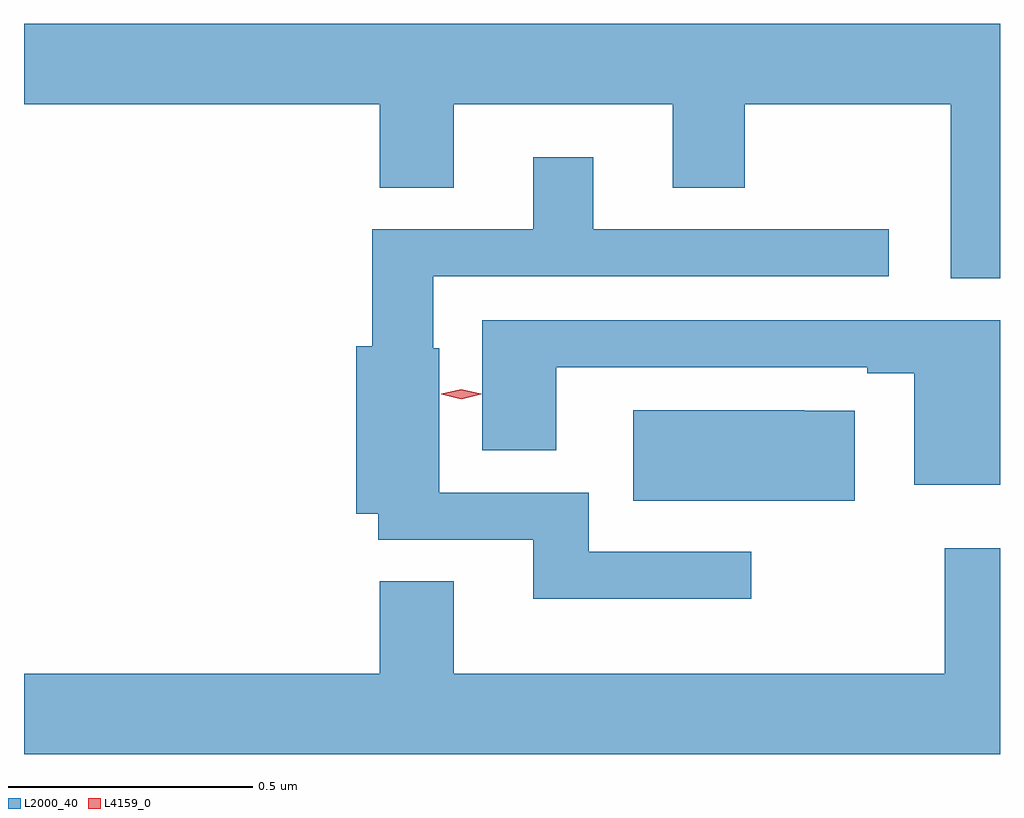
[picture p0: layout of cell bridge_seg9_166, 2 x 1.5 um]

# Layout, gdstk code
import gdstk
lib = gdstk.Library(unit=1e-6, precision=1e-09)
def P(c, l, *ps):  # polygons
    for p in ps: c.add(gdstk.Polygon(p, *l))
L2000_40 = (2000, 40)
L4159_0 = (4159, 0)

bridge_seg9_166 = lib.new_cell('bridge_seg9_166')
P(bridge_seg9_166, L2000_40, [(269.77,1233.88),(267.77,1233.88),(267.77,1233.716),(268.499,1233.716),(268.499,1233.544),(268.651,1233.544),(268.651,1233.716),(269.099,1233.716),(269.099,1233.544),(269.247,1233.544),(269.247,1233.716),(269.669,1233.716),(269.669,1233.359),(269.77,1233.359)],
  [(269.26,1232.799),(268.927,1232.799),(268.927,1232.919),(268.621,1232.919),(268.621,1233.216),(268.609,1233.216),(268.609,1233.363),(269.542,1233.363),(269.542,1233.459),(268.936,1233.459),(268.936,1233.607),(268.814,1233.607),(268.814,1233.459),(268.484,1233.459),(268.484,1233.22),(268.451,1233.22),(268.451,1232.876),(268.496,1232.876),(268.496,1232.823),(268.814,1232.823),(268.814,1232.702),(269.26,1232.702)],
  [(269.77,1233.273),(268.709,1233.273),(268.709,1233.006),(268.861,1233.006),(268.861,1233.177),(269.498,1233.177),(269.498,1233.164),(269.594,1233.164),(269.594,1232.936),(269.77,1232.936)],
  [(269.472,1233.087),(269.369,1233.087),(269.369,1233.088),(269.018,1233.088),(269.018,1232.903),(269.472,1232.903)],
  [(269.77,1232.806),(269.657,1232.806),(269.657,1232.548),(268.651,1232.548),(268.651,1232.738),(268.499,1232.738),(268.499,1232.548),(267.77,1232.548),(267.77,1232.384),(269.77,1232.384)])
P(bridge_seg9_166, L4159_0, [(268.666,1233.111),(268.625,1233.121),(268.625,1233.121),(268.625,1233.122),(268.666,1233.131),(268.707,1233.122),(268.707,1233.121),(268.707,1233.121)])

lib.write_gds('bridge_seg9_166.gds')
